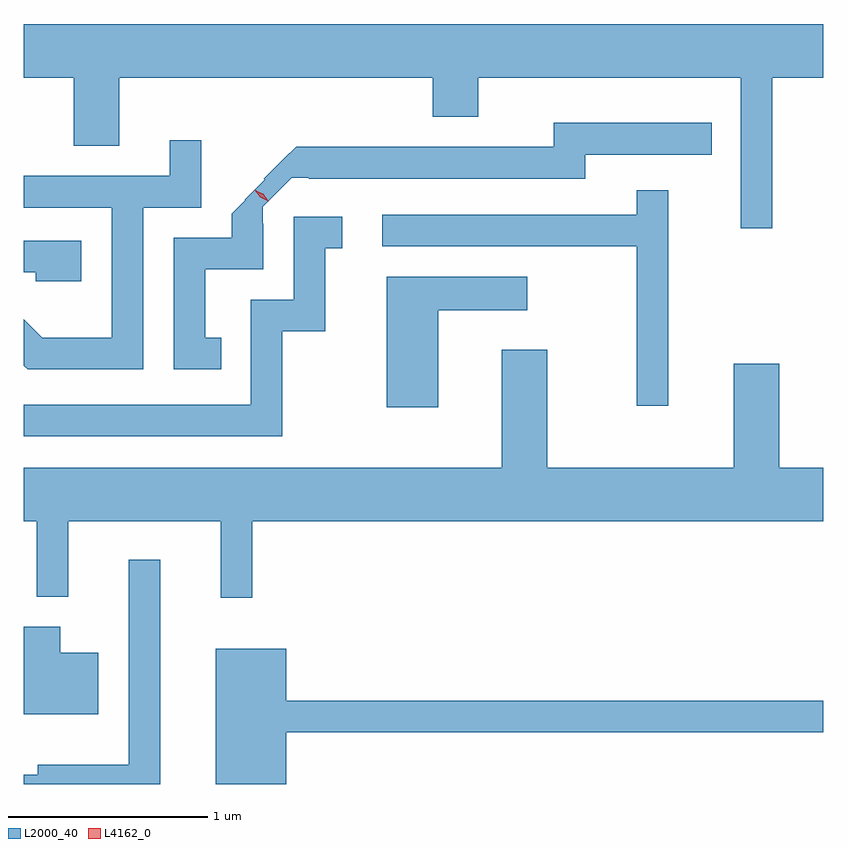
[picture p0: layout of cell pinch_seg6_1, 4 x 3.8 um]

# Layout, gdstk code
import gdstk
lib = gdstk.Library(unit=1e-6, precision=1e-09)
def P(c, l, *ps):  # polygons
    for p in ps: c.add(gdstk.Polygon(p, *l))
L2000_40 = (2000, 40)
L4162_0 = (4162, 0)

pinch_seg6_1 = lib.new_cell('pinch_seg6_1')
P(pinch_seg6_1, L2000_40, [(848.784,1558.916),(849.04,1558.916),(849.04,1559.184),(845.04,1559.184),(845.04,1558.916),(845.291,1558.916),(845.291,1558.576),(845.519,1558.576),(845.519,1558.916),(847.086,1558.916),(847.086,1558.721),(847.314,1558.721),(847.314,1558.916),(848.626,1558.916),(848.626,1558.163),(848.784,1558.163)],
  [(846.028,1557.614),(845.949,1557.614),(845.949,1557.956),(846.239,1557.956),(846.239,1558.185),(846.235,1558.185),(846.235,1558.27),(846.381,1558.415),(846.465,1558.415),(846.465,1558.411),(847.849,1558.411),(847.849,1558.531),(848.483,1558.531),(848.483,1558.689),(847.691,1558.689),(847.691,1558.569),(846.403,1558.569),(846.342,1558.509),(846.34,1558.51),(846.24,1558.41),(846.245,1558.405),(846.145,1558.305),(846.148,1558.302),(846.081,1558.235),(846.081,1558.114),(845.791,1558.114),(845.791,1557.456),(846.028,1557.456)],
  [(845.639,1558.266),(845.929,1558.266),(845.929,1558.603),(845.771,1558.603),(845.771,1558.424),(845.04,1558.424),(845.04,1558.266),(845.481,1558.266),(845.481,1557.614),(845.132,1557.614),(845.04,1557.706),(845.04,1557.475),(845.059,1557.456),(845.639,1557.456)],
  [(848.264,1558.353),(848.106,1558.353),(848.106,1558.229),(846.833,1558.229),(846.833,1558.071),(848.106,1558.071),(848.106,1557.273),(848.264,1557.273)],
  [(846.334,1557.646),(846.549,1557.646),(846.549,1558.061),(846.633,1558.061),(846.633,1558.219),(846.391,1558.219),(846.391,1557.804),(846.176,1557.804),(846.176,1557.279),(845.065,1557.279),(845.065,1557.28),(845.04,1557.28),(845.04,1557.121),(846.334,1557.121)],
  [(845.329,1558.099),(845.04,1558.099),(845.04,1557.941),(845.101,1557.941),(845.101,1557.896),(845.329,1557.896)],
  [(847.114,1557.751),(847.558,1557.751),(847.558,1557.919),(846.856,1557.919),(846.856,1557.266),(847.114,1557.266)],
  [(846.184,1556.696),(849.04,1556.696),(849.04,1556.964),(848.819,1556.964),(848.819,1557.484),(848.591,1557.484),(848.591,1556.964),(847.659,1556.964),(847.659,1557.554),(847.431,1557.554),(847.431,1556.964),(845.04,1556.964),(845.04,1556.696),(845.106,1556.696),(845.106,1556.318),(845.264,1556.318),(845.264,1556.696),(846.026,1556.696),(846.026,1556.313),(846.184,1556.313)],
  [(845.724,1556.503),(845.566,1556.503),(845.566,1555.479),(845.111,1555.479),(845.111,1555.429),(845.04,1555.429),(845.04,1555.382),(845.724,1555.382)],
  [(845.414,1556.039),(845.224,1556.039),(845.224,1556.169),(845.04,1556.169),(845.04,1555.731),(845.414,1555.731)],
  [(846.354,1555.641),(849.04,1555.641),(849.04,1555.799),(846.354,1555.799),(846.354,1556.059),(846.001,1556.059),(846.001,1555.382),(846.354,1555.382)])
P(pinch_seg6_1, L4162_0, [(846.264,1558.298),(846.224,1558.318),(846.197,1558.353),(846.197,1558.354),(846.197,1558.354),(846.237,1558.333),(846.265,1558.298),(846.265,1558.298)],
  [(846.261,1558.302),(846.225,1558.319),(846.202,1558.35),(846.202,1558.351),(846.202,1558.351),(846.238,1558.334),(846.262,1558.303),(846.262,1558.302)])

lib.write_gds('pinch_seg6_1.gds')
